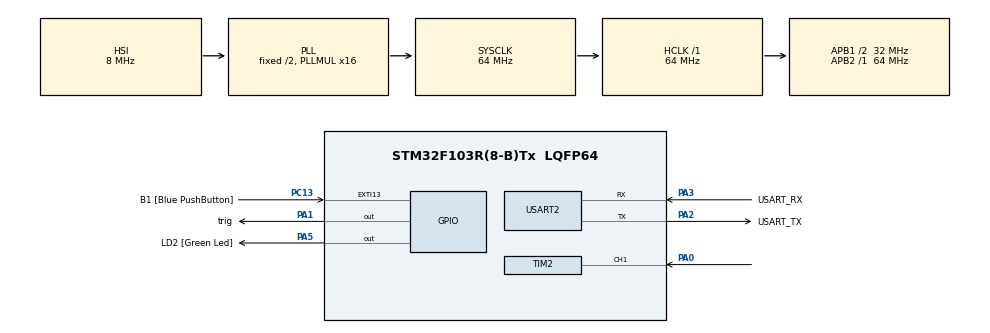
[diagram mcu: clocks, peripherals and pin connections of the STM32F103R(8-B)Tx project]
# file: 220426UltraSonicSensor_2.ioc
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Mcu.Family=STM32F1
Mcu.Name=STM32F103R(8-B)Tx
Mcu.Package=LQFP64
NVIC.EXTI15_10_IRQn=true\:0\:0\:false\:false\:true\:true\:true\:true
NVIC.PriorityGroup=NVIC_PRIORITYGROUP_4
PA0-WKUP.Signal=S_TIM2_CH1_ETR
PA1.GPIO_Label=trig
PA1.Signal=GPIO_Output
PA13.GPIO_Label=TMS
PA13.Mode=Serial_Wire
PA13.Signal=SYS_JTMS-SWDIO
PA14.GPIO_Label=TCK
PA14.Mode=Serial_Wire
PA14.Signal=SYS_JTCK-SWCLK
PA2.GPIO_Label=USART_TX
PA2.GPIO_Mode=GPIO_MODE_AF_PP
PA2.GPIO_PuPd=GPIO_NOPULL
PA2.GPIO_Speed=GPIO_SPEED_FREQ_LOW
PA2.Mode=Asynchronous
PA2.Signal=USART2_TX
PA3.GPIO_Label=USART_RX
PA3.GPIO_Mode=GPIO_MODE_AF_PP
PA3.GPIO_PuPd=GPIO_NOPULL
PA3.GPIO_Speed=GPIO_SPEED_FREQ_LOW
PA3.Mode=Asynchronous
PA3.Signal=USART2_RX
PA5.GPIO_Label=LD2 [Green Led]
PA5.GPIO_ModeDefaultOutputPP=GPIO_MODE_OUTPUT_PP
PA5.GPIO_PuPd=GPIO_NOPULL
PA5.GPIO_Speed=GPIO_SPEED_FREQ_LOW
PA5.Signal=GPIO_Output
PB3.GPIO_Label=SWO
PB3.Signal=SYS_JTDO-TRACESWO
PC13-TAMPER-RTC.GPIO_Label=B1 [Blue PushButton]
PC13-TAMPER-RTC.GPIO_PuPd=GPIO_NOPULL
PC13-TAMPER-RTC.Signal=GPXTI13
PC14-OSC32_IN.Mode=LSE-External-Oscillator
PC14-OSC32_IN.Signal=RCC_OSC32_IN
PC15-OSC32_OUT.Mode=LSE-External-Oscillator
PC15-OSC32_OUT.Signal=RCC_OSC32_OUT
PD0-OSC_IN.Mode=HSE-External-Clock-Source
PD0-OSC_IN.Signal=RCC_OSC_IN
PD1-OSC_OUT.Mode=HSE-External-Clock-Source
PD1-OSC_OUT.Signal=RCC_OSC_OUT
ProjectManager.HeapSize=0x200
ProjectManager.StackSize=0x400
ProjectManager.TargetToolchain=STM32CubeIDE
RCC.AHBFreq_Value=64000000
RCC.APB1CLKDivider=RCC_HCLK_DIV2
RCC.APB1Freq_Value=32000000
RCC.APB1TimFreq_Value=64000000
RCC.APB2Freq_Value=64000000
RCC.APB2TimFreq_Value=64000000
RCC.HCLKFreq_Value=64000000
RCC.PLLMUL=RCC_PLL_MUL16
RCC.RTCClockSelection=RCC_RTCCLKSOURCE_LSE
RCC.SYSCLKFreq_VALUE=64000000
RCC.SYSCLKSource=RCC_SYSCLKSOURCE_PLLCLK
RCC.USBFreq_Value=64000000
SH.S_TIM2_CH1_ETR.0=TIM2_CH1,Input_Capture1_from_TI1
TIM2.Channel-Input_Capture1_from_TI1=TIM_CHANNEL_1
TIM2.Prescaler=64-1
TIM3.Prescaler=64-1
USART2.VirtualMode=VM_ASYNC
VP_TIM2_VS_ClockSourceINT.Mode=Internal
VP_TIM3_VS_ClockSourceINT.Mode=Internal
board=NUCLEO-F103RB

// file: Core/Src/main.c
/* USER CODE BEGIN Header */
/**
  ******************************************************************************
  * @file           : main.c
  * @brief          : Main program body
  ******************************************************************************
  * @attention
  *
  * Copyright (c) 2022 STMicroelectronics.
  * All rights reserved.
  *
  * This software is licensed under terms that can be found in the LICENSE file
  * in the root directory of this software component.
  * If no LICENSE file comes with this software, it is provided AS-IS.
  *
  ******************************************************************************
  */
/* USER CODE END Header */
#include "main.h"
#include "stdio.h"

 TIM_HandleTypeDef htim2;
TIM_HandleTypeDef htim3;

UART_HandleTypeDef huart2;

void SystemClock_Config(void);
static void MX_GPIO_Init(void);
static void MX_USART2_UART_Init(void);
static void MX_TIM3_Init(void);
static void MX_TIM2_Init(void);

/* USER CODE BEGIN 0 */
#ifdef __GNUC__
/* With GCC, small printf (option LD Linker->Libraries->Small printf
   set to 'Yes') calls __io_putchar() */
#define PUTCHAR_PROTOTYPE int __io_putchar(int ch)
#else
#define PUTCHAR_PROTOTYPE int fputc(int ch, FILE *f)
#endif /* __GNUC__ */
void SystemClock_Config(void);

void delay_us(uint16_t delay)
{
	//__HAL_TIM_SET_COUNTER(&htim3, 0);
	TIM3 -> CNT = 0;
	//while (__HAL_TIM_GET_COUNTER(&htim3) < delay);
	while (TIM3 -> CNT < delay);
}

void UltraSonic(uint32_t GPIO_PIN)
{
	int start = htim2.Instance -> CNT;
	while(HAL_GPIO_ReadPin(GPIOA, GPIO_PIN) == GPIO_PIN_SET);
	int stop = htim2.Instance -> CNT;

	float distance = stop - start;

	printf("DISTANCE : %.1lf", distance);

}
/* USER CODE END 0 */

int main(void)
{

  /* MCU Configuration--------------------------------------------------------*/

  /* Reset of all peripherals, Initializes the Flash interface and the Systick. */
  HAL_Init();

  /* Configure the system clock */
  SystemClock_Config();

  /* Initialize all configured peripherals */
  MX_GPIO_Init();
  MX_USART2_UART_Init();
  MX_TIM3_Init();
  MX_TIM2_Init();
  /* USER CODE BEGIN 2 */
  HAL_TIM_PWM_Start(&htim2, TIM_CHANNEL_1);
  /* USER CODE END 2 */
  HAL_Delay(1000);
  /* Infinite loop */
  while (1)
  {
	HAL_GPIO_WritePin(GPIOA, trig_Pin, 1);
	delay_us(10);
	HAL_GPIO_WritePin(GPIOA, trig_Pin, GPIO_PIN_RESET);
  }
}

void SystemClock_Config(void)
{
  RCC_OscInitTypeDef RCC_OscInitStruct = {0};
  RCC_ClkInitTypeDef RCC_ClkInitStruct = {0};

  /** Initializes the RCC Oscillators according to the specified parameters
  * in the RCC_OscInitTypeDef structure.
  */
  RCC_OscInitStruct.OscillatorType = RCC_OSCILLATORTYPE_HSI;
  RCC_OscInitStruct.HSIState = RCC_HSI_ON;
  RCC_OscInitStruct.HSICalibrationValue = RCC_HSICALIBRATION_DEFAULT;
  RCC_OscInitStruct.PLL.PLLState = RCC_PLL_ON;
  RCC_OscInitStruct.PLL.PLLSource = RCC_PLLSOURCE_HSI_DIV2;
  RCC_OscInitStruct.PLL.PLLMUL = RCC_PLL_MUL16;
  if (HAL_RCC_OscConfig(&RCC_OscInitStruct) != HAL_OK)
  {
    Error_Handler();
  }

  /** Initializes the CPU, AHB and APB buses clocks
  */
  RCC_ClkInitStruct.ClockType = RCC_CLOCKTYPE_HCLK|RCC_CLOCKTYPE_SYSCLK
                              |RCC_CLOCKTYPE_PCLK1|RCC_CLOCKTYPE_PCLK2;
  RCC_ClkInitStruct.SYSCLKSource = RCC_SYSCLKSOURCE_PLLCLK;
  RCC_ClkInitStruct.AHBCLKDivider = RCC_SYSCLK_DIV1;
  RCC_ClkInitStruct.APB1CLKDivider = RCC_HCLK_DIV2;
  RCC_ClkInitStruct.APB2CLKDivider = RCC_HCLK_DIV1;

  if (HAL_RCC_ClockConfig(&RCC_ClkInitStruct, FLASH_LATENCY_2) != HAL_OK)
  {
    Error_Handler();
  }
}

static void MX_TIM2_Init(void)
{

  TIM_ClockConfigTypeDef sClockSourceConfig = {0};
  TIM_MasterConfigTypeDef sMasterConfig = {0};
  TIM_IC_InitTypeDef sConfigIC = {0};

  htim2.Instance = TIM2;
  htim2.Init.Prescaler = 64-1;
  htim2.Init.CounterMode = TIM_COUNTERMODE_UP;
  htim2.Init.Period = 65535;
  htim2.Init.ClockDivision = TIM_CLOCKDIVISION_DIV1;
  htim2.Init.AutoReloadPreload = TIM_AUTORELOAD_PRELOAD_DISABLE;
  if (HAL_TIM_Base_Init(&htim2) != HAL_OK)
  {
    Error_Handler();
  }
  sClockSourceConfig.ClockSource = TIM_CLOCKSOURCE_INTERNAL;
  if (HAL_TIM_ConfigClockSource(&htim2, &sClockSourceConfig) != HAL_OK)
  {
    Error_Handler();
  }
  if (HAL_TIM_IC_Init(&htim2) != HAL_OK)
  {
    Error_Handler();
  }
  sMasterConfig.MasterOutputTrigger = TIM_TRGO_RESET;
  sMasterConfig.MasterSlaveMode = TIM_MASTERSLAVEMODE_DISABLE;
  if (HAL_TIMEx_MasterConfigSynchronization(&htim2, &sMasterConfig) != HAL_OK)
  {
    Error_Handler();
  }
  sConfigIC.ICPolarity = TIM_INPUTCHANNELPOLARITY_RISING;
  sConfigIC.ICSelection = TIM_ICSELECTION_DIRECTTI;
  sConfigIC.ICPrescaler = TIM_ICPSC_DIV1;
  sConfigIC.ICFilter = 0;
  if (HAL_TIM_IC_ConfigChannel(&htim2, &sConfigIC, TIM_CHANNEL_1) != HAL_OK)
  {
    Error_Handler();
  }

}

static void MX_TIM3_Init(void)
{

  TIM_ClockConfigTypeDef sClockSourceConfig = {0};
  TIM_MasterConfigTypeDef sMasterConfig = {0};

  htim3.Instance = TIM3;
  htim3.Init.Prescaler = 64-1;
  htim3.Init.CounterMode = TIM_COUNTERMODE_UP;
  htim3.Init.Period = 65535;
  htim3.Init.ClockDivision = TIM_CLOCKDIVISION_DIV1;
  htim3.Init.AutoReloadPreload = TIM_AUTORELOAD_PRELOAD_DISABLE;
  if (HAL_TIM_Base_Init(&htim3) != HAL_OK)
  {
    Error_Handler();
  }
  sClockSourceConfig.ClockSource = TIM_CLOCKSOURCE_INTERNAL;
  if (HAL_TIM_ConfigClockSource(&htim3, &sClockSourceConfig) != HAL_OK)
  {
    Error_Handler();
  }
  sMasterConfig.MasterOutputTrigger = TIM_TRGO_RESET;
  sMasterConfig.MasterSlaveMode = TIM_MASTERSLAVEMODE_DISABLE;
  if (HAL_TIMEx_MasterConfigSynchronization(&htim3, &sMasterConfig) != HAL_OK)
  {
    Error_Handler();
  }

}

static void MX_USART2_UART_Init(void)
{

  huart2.Instance = USART2;
  huart2.Init.BaudRate = 115200;
  huart2.Init.WordLength = UART_WORDLENGTH_8B;
  huart2.Init.StopBits = UART_STOPBITS_1;
  huart2.Init.Parity = UART_PARITY_NONE;
  huart2.Init.Mode = UART_MODE_TX_RX;
  huart2.Init.HwFlowCtl = UART_HWCONTROL_NONE;
  huart2.Init.OverSampling = UART_OVERSAMPLING_16;
  if (HAL_UART_Init(&huart2) != HAL_OK)
  {
    Error_Handler();
  }

}

static void MX_GPIO_Init(void)
{
  GPIO_InitTypeDef GPIO_InitStruct = {0};

  /* GPIO Ports Clock Enable */
  __HAL_RCC_GPIOC_CLK_ENABLE();
  __HAL_RCC_GPIOD_CLK_ENABLE();
  __HAL_RCC_GPIOA_CLK_ENABLE();
  __HAL_RCC_GPIOB_CLK_ENABLE();

  /*Configure GPIO pin Output Level */
  HAL_GPIO_WritePin(GPIOA, trig_Pin|LD2_Pin, GPIO_PIN_RESET);

  /*Configure GPIO pin : B1_Pin */
  GPIO_InitStruct.Pin = B1_Pin;
  GPIO_InitStruct.Mode = GPIO_MODE_IT_RISING;
  GPIO_InitStruct.Pull = GPIO_NOPULL;
  HAL_GPIO_Init(B1_GPIO_Port, &GPIO_InitStruct);

  /*Configure GPIO pins : trig_Pin LD2_Pin */
  GPIO_InitStruct.Pin = trig_Pin|LD2_Pin;
  GPIO_InitStruct.Mode = GPIO_MODE_OUTPUT_PP;
  GPIO_InitStruct.Pull = GPIO_NOPULL;
  GPIO_InitStruct.Speed = GPIO_SPEED_FREQ_LOW;
  HAL_GPIO_Init(GPIOA, &GPIO_InitStruct);

  /* EXTI interrupt init*/
  HAL_NVIC_SetPriority(EXTI15_10_IRQn, 0, 0);
  HAL_NVIC_EnableIRQ(EXTI15_10_IRQn);

}

/* USER CODE BEGIN 4 */
PUTCHAR_PROTOTYPE
{
  /* Place your implementation of fputc here */
  /* e.g. write a character to the USART1 and Loop until the end of transmission */
  HAL_UART_Transmit(&huart2, (uint8_t *)&ch, 1, 0xFFFF);

  return ch;
}
/* USER CODE END 4 */

void Error_Handler(void)
{
  __disable_irq();
  while (1)
  {
  }
}
